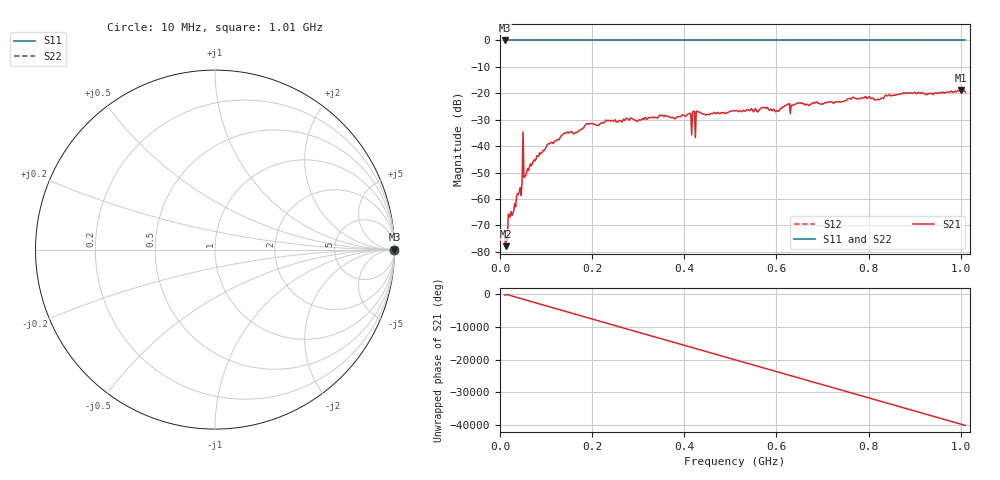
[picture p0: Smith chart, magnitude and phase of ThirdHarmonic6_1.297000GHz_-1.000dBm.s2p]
! 8/16/2025 2:14:37 PM
! C:\ANRITSUVNA\TEMP\TEMP.S2P
! CHANNEL.1
! TR.MEASUREMENT
! RAW.DATA
! RF.CORRECTION.OFF
! AVERAGING.OFF
! IF.BANDWIDTH: 5KHZ
! SWEEPTYPE:  FREQ.SWEEP(Linear)
! Reference Plane Port Info
! PORT:  PORT1  PORT2
! DISTANCE:  0  m  0  m
! TIME:  0  s  0  s
! PHASE.OFFSET:  0  deg.  0  deg.
! LOSS:  0  dB  0  dB
! REF.LOSS:  0  dB  0  dB
! REF.FREQ:  0  Hz  0  Hz
! Power Info
! POWER:  -20  dBm  -20  dBm
! EFF.POWER:  -20  dBm  -20  dBm
! SOURCE.ATTEN:  0  dB  0  dB
! TEST.ATTEN:  0  dB  0  dB
# GHZ S RI R 50.0
! FREQ.GHZ  S11RE  S11IM  S21RE  S21IM  S12RE  S12IM  S22RE  S22IM
!; PortSelection: Port_12
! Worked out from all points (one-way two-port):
!   501 points, 10 MHz to 1.01 GHz, reference 50 ohm
!   highest |S21| = -18.73 dB at 1 GHz (marker M1); lowest = -77.9 dB at 12 MHz (marker M2)
!   lowest |S11| = 0.0 dB at 10 MHz (marker M3)
!   |S11| at or under -10 dB: nowhere
!   |S22| runs from 0.0 to 0.0 dB; largest |S21 - S12| = 1.1
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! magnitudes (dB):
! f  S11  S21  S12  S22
! 10 MHz  0.0  -72.1  0.0  0.0
! 12 MHz  0.0  -77.9  0.0  0.0
! 22 MHz  0.0  -66.9  0.0  0.0
! 30 MHz  0.0  -64.3  0.0  0.0
! 44 MHz  0.0  -55.7  0.0  0.0
! 46 MHz  0.0  -58.7  0.0  0.0
! 54 MHz  0.0  -51.5  0.0  0.0
! 56 MHz  0.0  -51.0  0.0  0.0
! 106 MHz  0.0  -39.0  0.0  0.0
! 178 MHz  0.0  -33.6  0.0  0.0
! 234 MHz  0.0  -30.4  0.0  0.0
! 344 MHz  0.0  -28.9  0.0  0.0
! 410 MHz  0.0  -27.7  0.0  0.0
! 420 MHz  0.0  -26.7  0.0  0.0
! 430 MHz  0.0  -27.0  0.0  0.0
! 510 MHz  0.0  -26.7  0.0  0.0
! 602 MHz  0.0  -26.6  0.0  0.0
! 624 MHz  0.0  -24.2  0.0  0.0
! 678 MHz  0.0  -23.7  0.0  0.0
! 844 MHz  0.0  -20.6  0.0  0.0
! 1 GHz  0.0  -18.7  0.0  0.0
! 1.01 GHz  0.0  -19.6  0.0  0.0
